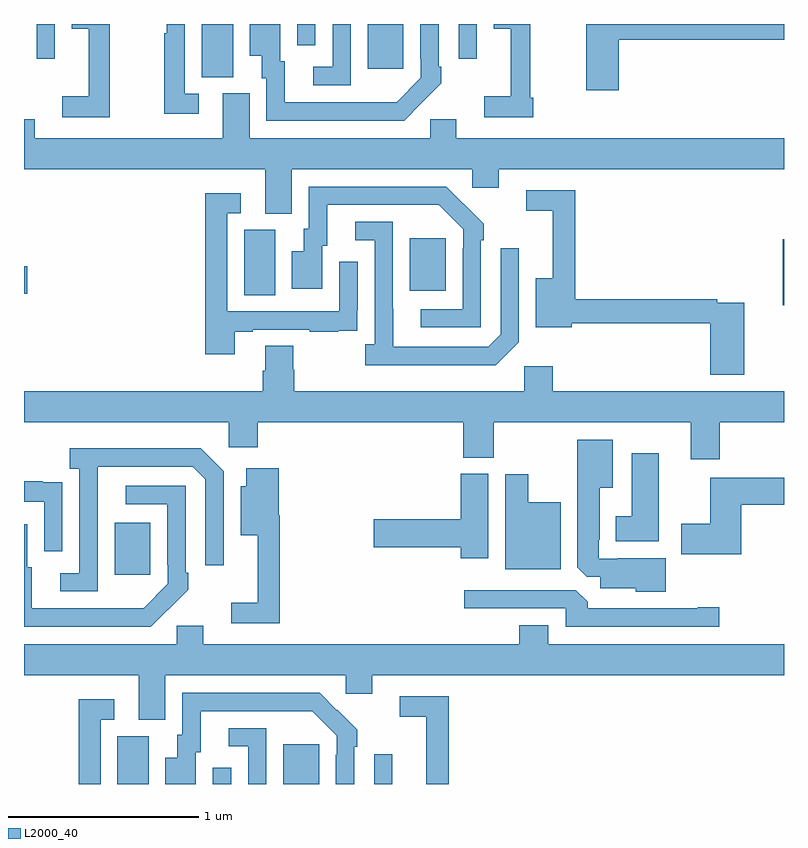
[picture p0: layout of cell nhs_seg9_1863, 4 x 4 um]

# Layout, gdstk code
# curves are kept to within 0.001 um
import gdstk
lib = gdstk.Library(unit=1e-6, precision=1e-09)
def R(c, l, rs):  # rectangles x0, y0, x1, y1
    for r in rs: c.add(gdstk.rectangle(r[:2], r[2:], *l))
def P(c, l, *ps):  # polygons
    for p in ps: c.add(gdstk.Polygon(p, *l))
L2000_40 = (2000, 40)

nhs_seg9_1863 = lib.new_cell('nhs_seg9_1863')
R(nhs_seg9_1863, L2000_40, [(215.492,1210.5,215.656,1210.752), (215.994,1210.5,216.09,1210.585), (216.365,1210.5,216.553,1210.708), (216.843,1210.5,216.939,1210.657), (215.477,1211.601,215.665,1211.875), (218.993,1213.019,219,1213.367), (216.158,1213.072,216.322,1213.416), (215,1213.079,215.017,1213.226), (217.031,1213.097,217.219,1213.372), (215.936,1214.221,216.1,1214.5), (216.809,1214.265,216.997,1214.5), (215.067,1214.316,215.163,1214.5), (217.287,1214.316,217.383,1214.5), (216.438,1214.388,216.534,1214.5)])
P(nhs_seg9_1863, L2000_40, [(217.091,1214.083),(217.092,1214.082),(217.197,1214.187),(217.197,1214.275),(217.182,1214.275),(217.182,1214.5),(217.086,1214.5),(217.086,1214.317),(217.089,1214.317),(217.089,1214.217),(216.961,1214.089),(216.857,1214.088),(216.373,1214.088),(216.373,1214.304),(216.349,1214.304),(216.349,1214.5),(216.188,1214.5),(216.188,1214.333),(216.251,1214.333),(216.251,1214.214),(216.276,1214.214),(216.276,1213.992),(217,1213.992)],
  [(217.679,1214.113),(217.664,1214.113),(217.664,1214.5),(217.472,1214.5),(217.472,1214.474),(217.562,1214.474),(217.562,1214.119),(217.422,1214.119),(217.422,1214.01),(217.679,1214.01)],
  [(215.452,1214.5),(215.252,1214.5),(215.252,1214.474),(215.342,1214.474),(215.342,1214.119),(215.202,1214.119),(215.202,1214.01),(215.452,1214.01)],
  [(216.72,1214.5),(216.624,1214.5),(216.624,1214.274),(216.522,1214.274),(216.522,1214.178),(216.72,1214.178)],
  [(218.129,1214.416),(219,1214.416),(219,1214.5),(217.958,1214.5),(217.958,1214.151),(218.129,1214.151)],
  [(215.92,1214.133),(215.847,1214.133),(215.847,1214.5),(215.751,1214.5),(215.751,1214.451),(215.739,1214.451),(215.739,1214.028),(215.92,1214.028)],
  [(216.409,1213.736),(217.359,1213.736),(217.359,1213.638),(217.498,1213.638),(217.498,1213.736),(219,1213.736),(219,1213.9),(217.276,1213.9),(217.276,1213.998),(217.137,1213.998),(217.137,1213.9),(216.187,1213.9),(216.187,1214.136),(216.047,1214.136),(216.047,1213.9),(215.056,1213.9),(215.056,1213.998),(215,1213.998),(215,1213.736),(216.269,1213.736),(216.269,1213.501),(216.409,1213.501)],
  [(217.404,1213.361),(217.419,1213.361),(217.419,1213.449),(217.222,1213.644),(216.498,1213.644),(216.498,1213.422),(216.473,1213.422),(216.473,1213.303),(216.41,1213.303),(216.41,1213.107),(216.571,1213.107),(216.571,1213.332),(216.595,1213.332),(216.595,1213.548),(217.183,1213.548),(217.311,1213.419),(217.311,1213.319),(217.308,1213.319),(217.308,1212.999),(217.089,1212.999),(217.089,1212.903),(217.404,1212.903)],
  [(218.79,1213.032),(218.648,1213.032),(218.648,1213.052),(217.901,1213.052),(217.901,1213.626),(217.644,1213.626),(217.644,1213.518),(217.784,1213.518),(217.784,1213.162),(217.694,1213.162),(217.694,1212.905),(217.882,1212.905),(217.882,1212.924),(218.612,1212.924),(218.612,1212.653),(218.79,1212.653)],
  [(216.109,1212.879),(216.205,1212.879),(216.205,1212.891),(216.505,1212.891),(216.505,1212.879),(216.653,1212.879),(216.653,1212.885),(216.755,1212.885),(216.755,1212.994),(216.756,1212.994),(216.756,1213.249),(216.66,1213.249),(216.66,1212.987),(216.069,1212.987),(216.069,1213.503),(216.142,1213.503),(216.142,1213.609),(215.953,1213.609),(215.953,1212.762),(216.109,1212.762)],
  [(217.605,1212.825),(217.605,1213.321),(217.509,1213.321),(217.509,1212.867),(217.443,1212.801),(216.943,1212.801),(216.942,1213.458),(216.744,1213.458),(216.744,1213.362),(216.846,1213.362),(216.846,1212.814),(216.795,1212.814),(216.795,1212.704),(217.484,1212.704)],
  [(218.663,1212.404),(219,1212.404),(219,1212.568),(217.784,1212.568),(217.784,1212.7),(217.632,1212.7),(217.632,1212.568),(216.422,1212.568),(216.422,1212.681),(216.417,1212.681),(216.417,1212.806),(216.269,1212.806),(216.269,1212.674),(216.257,1212.674),(216.257,1212.568),(215,1212.568),(215,1212.404),(216.078,1212.404),(216.078,1212.273),(216.23,1212.273),(216.23,1212.404),(217.313,1212.404),(217.313,1212.217),(217.473,1212.217),(217.473,1212.404),(218.51,1212.404),(218.51,1212.21),(218.663,1212.21)],
  [(218.377,1211.689),(218.125,1211.689),(218.125,1211.685),(218.025,1211.685),(218.025,1211.785),(218.029,1211.785),(218.029,1212.059),(218.098,1212.059),(218.098,1212.313),(217.913,1212.313),(217.913,1211.641),(217.962,1211.592),(218.033,1211.592),(218.033,1211.531),(218.22,1211.531),(218.22,1211.513),(218.377,1211.513)],
  [(215.388,1211.971),(215.389,1212.171),(215.889,1212.171),(215.955,1212.105),(215.955,1211.652),(216.051,1211.652),(216.051,1212.147),(215.93,1212.268),(215.241,1212.268),(215.241,1212.158),(215.292,1212.158),(215.292,1211.61),(215.19,1211.61),(215.19,1211.514),(215.388,1211.514)],
  [(218.341,1212.241),(218.198,1212.241),(218.198,1211.908),(218.114,1211.908),(218.114,1211.777),(218.341,1211.777)],
  [(216.347,1211.914),(216.341,1211.914),(216.341,1212.163),(216.17,1212.163),(216.17,1212.067),(216.14,1212.067),(216.14,1211.81),(216.23,1211.81),(216.23,1211.455),(216.09,1211.455),(216.09,1211.346),(216.347,1211.346)],
  [(217.444,1212.132),(217.298,1212.132),(217.298,1211.894),(216.84,1211.894),(216.84,1211.747),(217.298,1211.747),(217.298,1211.688),(217.444,1211.688)],
  [(217.825,1211.983),(217.654,1211.983),(217.654,1212.13),(217.532,1212.13),(217.532,1211.63),(217.825,1211.63)],
  [(218.775,1211.969),(219,1211.969),(219,1212.111),(218.612,1212.111),(218.612,1211.871),(218.46,1211.871),(218.46,1211.708),(218.775,1211.708)],
  [(215.202,1211.978),(215.201,1211.978),(215.201,1212.087),(215.099,1212.087),(215.099,1212.094),(215,1212.094),(215,1211.985),(215.106,1211.985),(215.106,1211.724),(215.202,1211.724)],
  [(215.759,1211.419),(215.76,1211.418),(215.865,1211.523),(215.865,1211.611),(215.85,1211.611),(215.85,1212.069),(215.535,1212.069),(215.535,1211.973),(215.754,1211.973),(215.754,1211.653),(215.757,1211.653),(215.757,1211.553),(215.629,1211.425),(215.041,1211.424),(215.041,1211.64),(215.017,1211.64),(215.017,1211.866),(215,1211.866),(215,1211.328),(215.668,1211.328)],
  [(218.659,1211.429),(218.546,1211.429),(218.546,1211.424),(217.967,1211.424),(217.967,1211.458),(217.905,1211.52),(217.317,1211.52),(217.317,1211.424),(217.851,1211.424),(217.851,1211.328),(218.659,1211.328)],
  [(215.743,1211.072),(216.693,1211.072),(216.693,1210.974),(216.832,1210.974),(216.832,1211.072),(219,1211.072),(219,1211.236),(217.759,1211.236),(217.759,1211.335),(217.607,1211.335),(217.607,1211.236),(215.944,1211.236),(215.944,1211.334),(215.805,1211.334),(215.805,1211.236),(215,1211.236),(215,1211.072),(215.603,1211.072),(215.603,1210.837),(215.743,1210.837)],
  [(215.905,1210.668),(215.929,1210.668),(215.929,1210.884),(216.517,1210.884),(216.645,1210.755),(216.645,1210.655),(216.642,1210.655),(216.642,1210.5),(216.738,1210.5),(216.738,1210.697),(216.753,1210.697),(216.753,1210.785),(216.556,1210.98),(215.832,1210.98),(215.832,1210.758),(215.807,1210.758),(215.807,1210.639),(215.744,1210.639),(215.744,1210.5),(215.905,1210.5)],
  [(217.235,1210.962),(216.978,1210.962),(216.978,1210.854),(217.118,1210.854),(217.118,1210.5),(217.235,1210.5)],
  [(215.403,1210.839),(215.476,1210.839),(215.476,1210.945),(215.287,1210.945),(215.287,1210.5),(215.403,1210.5)],
  [(216.276,1210.794),(216.078,1210.794),(216.078,1210.698),(216.18,1210.698),(216.18,1210.5),(216.276,1210.5)])

lib.write_gds('nhs_seg9_1863.gds')
